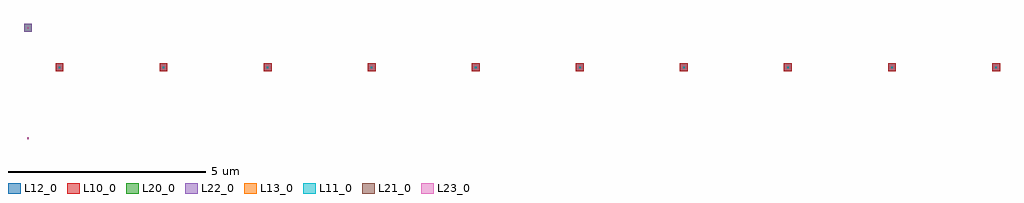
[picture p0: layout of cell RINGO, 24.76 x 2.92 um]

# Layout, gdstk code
import gdstk
lib = gdstk.Library(unit=1e-6, precision=1e-09)
def R(c, l, rs):  # rectangles x0, y0, x1, y1
    for r in rs: c.add(gdstk.rectangle(r[:2], r[2:], *l))
def A(c, l, x, y, w, h, nx, ny, dx, dy):  # array of equal rectangles
    R(c, l, [(x+i*dx, y+j*dy, x+i*dx+w, y+j*dy+h) for i in range(nx) for j in range(ny)])
L10_0 = (10, 0)
L11_0 = (11, 0)
L12_0 = (12, 0)
L13_0 = (13, 0)
L20_0 = (20, 0)
L21_0 = (21, 0)
L22_0 = (22, 0)
L23_0 = (23, 0)

inv2 = lib.new_cell('INV2')
R(inv2, L10_0, [(0.7,1.7,0.9,1.9)])
R(inv2, L11_0, [(0.78,1.78,0.82,1.82)])

ringo = lib.new_cell('RINGO')
A(ringo, L12_0, 0.7, 1.7, 0.2, 0.2, 10, 1, 2.64, 0)
A(ringo, L13_0, 0.78, 1.78, 0.04, 0.04, 10, 1, 2.64, 0)
R(ringo, L20_0, [(-0.1,2.7,0.1,2.9)])
R(ringo, L21_0, [(-0.02,-0.02,0.02,0.02), (-0.02,2.78,0.02,2.82)])
R(ringo, L22_0, [(-0.1,2.7,0.1,2.9)])
R(ringo, L23_0, [(-0.02,-0.02,0.02,0.02), (-0.02,2.78,0.02,2.82)])
ringo.add(gdstk.Reference(inv2, (0,0)))
ringo.add(gdstk.Reference(inv2, (2.64,0)))
ringo.add(gdstk.Reference(inv2, (5.28,0)))
ringo.add(gdstk.Reference(inv2, (7.92,0)))
ringo.add(gdstk.Reference(inv2, (10.56,0)))
ringo.add(gdstk.Reference(inv2, (13.2,0)))
ringo.add(gdstk.Reference(inv2, (15.84,0)))
ringo.add(gdstk.Reference(inv2, (18.48,0)))
ringo.add(gdstk.Reference(inv2, (21.12,0)))
ringo.add(gdstk.Reference(inv2, (23.76,0)))

lib.write_gds('RINGO.gds')
